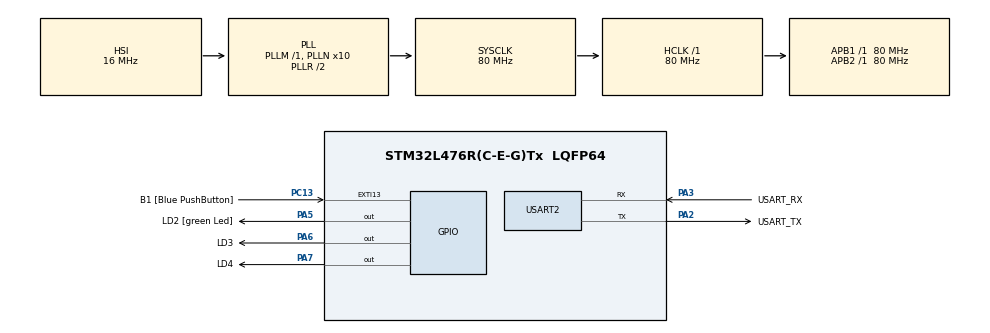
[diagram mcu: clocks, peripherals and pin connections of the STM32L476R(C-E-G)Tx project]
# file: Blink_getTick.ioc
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Mcu.Family=STM32L4
Mcu.Name=STM32L476R(C-E-G)Tx
Mcu.Package=LQFP64
NVIC.PriorityGroup=NVIC_PRIORITYGROUP_4
PA13\ (JTMS-SWDIO).GPIO_Label=TMS
PA13\ (JTMS-SWDIO).Mode=Serial_Wire
PA13\ (JTMS-SWDIO).Signal=SYS_JTMS-SWDIO
PA14\ (JTCK-SWCLK).GPIO_Label=TCK
PA14\ (JTCK-SWCLK).Mode=Serial_Wire
PA14\ (JTCK-SWCLK).Signal=SYS_JTCK-SWCLK
PA2.GPIO_Label=USART_TX
PA2.GPIO_Mode=GPIO_MODE_AF_PP
PA2.GPIO_PuPd=GPIO_NOPULL
PA2.GPIO_Speed=GPIO_SPEED_FREQ_VERY_HIGH
PA2.Mode=Asynchronous
PA2.Signal=USART2_TX
PA3.GPIO_Label=USART_RX
PA3.GPIO_Mode=GPIO_MODE_AF_PP
PA3.GPIO_PuPd=GPIO_NOPULL
PA3.GPIO_Speed=GPIO_SPEED_FREQ_VERY_HIGH
PA3.Mode=Asynchronous
PA3.Signal=USART2_RX
PA5.GPIO_Label=LD2 [green Led]
PA5.GPIO_ModeDefaultOutputPP=GPIO_MODE_OUTPUT_PP
PA5.GPIO_PuPd=GPIO_NOPULL
PA5.GPIO_Speed=GPIO_SPEED_FREQ_LOW
PA5.Signal=GPIO_Output
PA6.GPIO_Label=LD3
PA6.Signal=GPIO_Output
PA7.GPIO_Label=LD4
PA7.Signal=GPIO_Output
PB3\ (JTDO-TRACESWO).GPIO_Label=SWO
PB3\ (JTDO-TRACESWO).Signal=SYS_JTDO-SWO
PC13.GPIO_Label=B1 [Blue PushButton]
PC13.GPIO_ModeDefaultEXTI=GPIO_MODE_IT_FALLING
PC13.GPIO_PuPd=GPIO_NOPULL
PC13.Signal=GPXTI13
PC14-OSC32_IN\ (PC14).Mode=LSE-External-Oscillator
PC14-OSC32_IN\ (PC14).Signal=RCC_OSC32_IN
PC15-OSC32_OUT\ (PC15).Mode=LSE-External-Oscillator
PC15-OSC32_OUT\ (PC15).Signal=RCC_OSC32_OUT
PH0-OSC_IN\ (PH0).Signal=RCC_OSC_IN
PH1-OSC_OUT\ (PH1).Signal=RCC_OSC_OUT
ProjectManager.HeapSize=0x200
ProjectManager.StackSize=0x400
ProjectManager.TargetToolchain=STM32CubeIDE
RCC.ADCFreq_Value=64000000
RCC.AHBFreq_Value=80000000
RCC.APB1Freq_Value=80000000
RCC.APB1TimFreq_Value=80000000
RCC.APB2Freq_Value=80000000
RCC.APB2TimFreq_Value=80000000
RCC.CortexFreq_Value=80000000
RCC.HCLKFreq_Value=80000000
RCC.HSE_VALUE=8000000
RCC.HSI_VALUE=16000000
RCC.MSI_VALUE=4000000
RCC.PLLN=10
RCC.PLLSourceVirtual=RCC_PLLSOURCE_HSI
RCC.PREFETCH_ENABLE=1
RCC.SYSCLKFreq_VALUE=80000000
RCC.SYSCLKSource=RCC_SYSCLKSOURCE_PLLCLK
RCC.USBFreq_Value=64000000
RCC.VCOOutputFreq_Value=160000000
USART2.VirtualMode-Asynchronous=VM_ASYNC
board=NUCLEO-L476RG

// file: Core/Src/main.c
/* USER CODE BEGIN Header */
/**
 ******************************************************************************
 * @file           : main.c
 * @brief          : Main program body
 ******************************************************************************
 * @attention
 *
 * Copyright (c) 2024 STMicroelectronics.
 * All rights reserved.
 *
 * This software is licensed under terms that can be found in the LICENSE file
 * in the root directory of this software component.
 * If no LICENSE file comes with this software, it is provided AS-IS.
 *
 ******************************************************************************
 */
/* USER CODE END Header */
#include "main.h"
#include "usart.h"
#include "gpio.h"

/* USER CODE BEGIN PV */
uint32_t TimerLED2; // Software Timer for LED2
uint32_t TimerLED3; // Software Timer for LED3
uint32_t TimerLED4; // Software Timer for LED4

/* USER CODE END PV */

void SystemClock_Config(void);

int main(void)
{

  /* MCU Configuration--------------------------------------------------------*/

  /* Reset of all peripherals, Initializes the Flash interface and the Systick. */
  HAL_Init();

  /* Configure the system clock */
  SystemClock_Config();

  /* Initialize all configured peripherals */
  MX_GPIO_Init();
  MX_USART2_UART_Init();
  /* USER CODE BEGIN 2 */
	TimerLED2 = HAL_GetTick(); // Reload timers with entry Tick number
	TimerLED3 = HAL_GetTick();
	TimerLED4 = HAL_GetTick();

  /* USER CODE END 2 */

  /* Infinite loop */
  /* USER CODE BEGIN WHILE */
	while (1) {

		if ((HAL_GetTick() - TimerLED2) > 500) // Check if current Tick 500 more milliseconds than last remembered SW Timer
				{
			TimerLED2 = HAL_GetTick(); // Reload SW Timer for next "round"
			HAL_GPIO_TogglePin(LD2_GPIO_Port, LD2_Pin); // Just toggle LED2
		}

		if ((HAL_GetTick() - TimerLED3) > 120) // Check if current Tick 120 more milliseconds than last remembered SW Timer
				{
			TimerLED3 = HAL_GetTick(); // Reload SW Timer for next "round"
			HAL_GPIO_TogglePin(LD3_GPIO_Port, LD3_Pin); // Just toggle LED3
		}

		if ((HAL_GetTick() - TimerLED4) > 270) // Check if current Tick 270 more milliseconds than last remembered SW Timer
				{
			TimerLED4 = HAL_GetTick(); // Reload SW Timer for next "round"
			HAL_GPIO_TogglePin(LD4_GPIO_Port, LD4_Pin); // Just toggle LED4
		}

    /* USER CODE END WHILE */

	}
}

void SystemClock_Config(void)
{
  RCC_OscInitTypeDef RCC_OscInitStruct = {0};
  RCC_ClkInitTypeDef RCC_ClkInitStruct = {0};

  /** Configure the main internal regulator output voltage
  */
  if (HAL_PWREx_ControlVoltageScaling(PWR_REGULATOR_VOLTAGE_SCALE1) != HAL_OK)
  {
    Error_Handler();
  }

  /** Initializes the RCC Oscillators according to the specified parameters
  * in the RCC_OscInitTypeDef structure.
  */
  RCC_OscInitStruct.OscillatorType = RCC_OSCILLATORTYPE_HSI;
  RCC_OscInitStruct.HSIState = RCC_HSI_ON;
  RCC_OscInitStruct.HSICalibrationValue = RCC_HSICALIBRATION_DEFAULT;
  RCC_OscInitStruct.PLL.PLLState = RCC_PLL_ON;
  RCC_OscInitStruct.PLL.PLLSource = RCC_PLLSOURCE_HSI;
  RCC_OscInitStruct.PLL.PLLM = 1;
  RCC_OscInitStruct.PLL.PLLN = 10;
  RCC_OscInitStruct.PLL.PLLP = RCC_PLLP_DIV7;
  RCC_OscInitStruct.PLL.PLLQ = RCC_PLLQ_DIV2;
  RCC_OscInitStruct.PLL.PLLR = RCC_PLLR_DIV2;
  if (HAL_RCC_OscConfig(&RCC_OscInitStruct) != HAL_OK)
  {
    Error_Handler();
  }

  /** Initializes the CPU, AHB and APB buses clocks
  */
  RCC_ClkInitStruct.ClockType = RCC_CLOCKTYPE_HCLK|RCC_CLOCKTYPE_SYSCLK
                              |RCC_CLOCKTYPE_PCLK1|RCC_CLOCKTYPE_PCLK2;
  RCC_ClkInitStruct.SYSCLKSource = RCC_SYSCLKSOURCE_PLLCLK;
  RCC_ClkInitStruct.AHBCLKDivider = RCC_SYSCLK_DIV1;
  RCC_ClkInitStruct.APB1CLKDivider = RCC_HCLK_DIV1;
  RCC_ClkInitStruct.APB2CLKDivider = RCC_HCLK_DIV1;

  if (HAL_RCC_ClockConfig(&RCC_ClkInitStruct, FLASH_LATENCY_4) != HAL_OK)
  {
    Error_Handler();
  }
}

void Error_Handler(void)
{
	__disable_irq();
	while (1) {
	}
}
